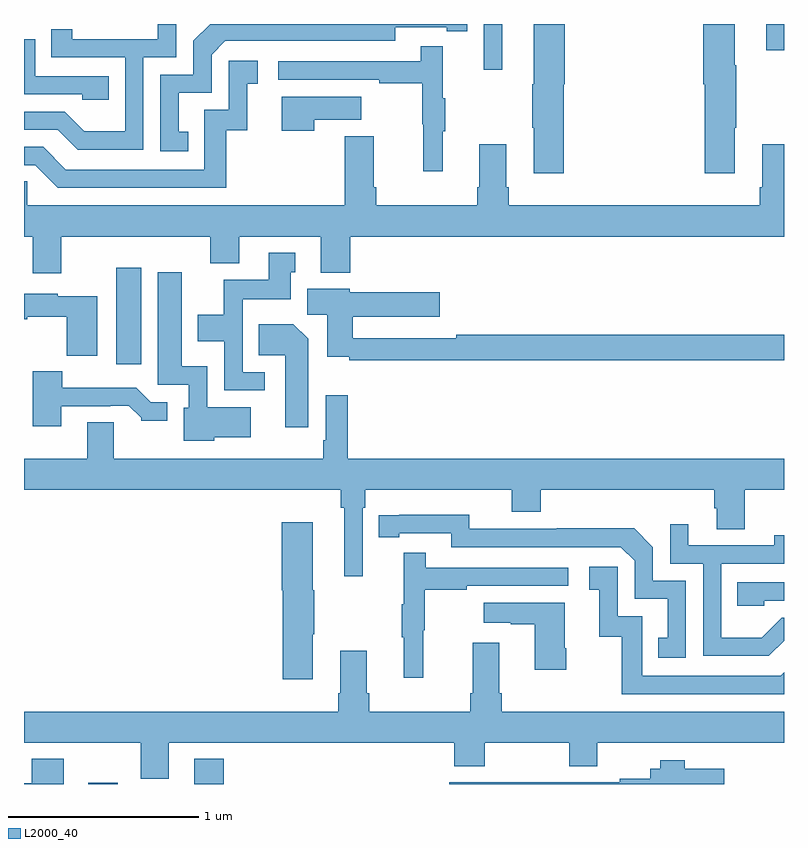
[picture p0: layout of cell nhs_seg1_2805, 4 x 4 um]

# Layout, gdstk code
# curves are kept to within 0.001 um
import gdstk
lib = gdstk.Library(unit=1e-6, precision=1e-09)
def R(c, l, rs):  # rectangles x0, y0, x1, y1
    for r in rs: c.add(gdstk.rectangle(r[:2], r[2:], *l))
def P(c, l, *ps):  # polygons
    for p in ps: c.add(gdstk.Polygon(p, *l))
L2000_40 = (2000, 40)

nhs_seg1_2805 = lib.new_cell('nhs_seg1_2805')
R(nhs_seg1_2805, L2000_40, [(263.337,534.199,263.493,534.205), (263.897,534.199,264.05,534.331), (263.486,536.409,263.617,536.917), (265.419,537.957,265.516,538.199), (266.906,538.062,267,538.199)])
P(nhs_seg1_2805, L2000_40, [(263.628,538.023),(263.802,538.023),(263.802,538.199),(263.705,538.199),(263.705,538.119),(263.254,538.119),(263.254,538.171),(263.143,538.171),(263.143,538.023),(263.532,538.023),(263.532,537.634),(263.318,537.634),(263.214,537.738),(263,537.738),(263,537.642),(263.177,537.642),(263.282,537.537),(263.628,537.537)],
  [(265.841,537.882),(265.846,537.882),(265.846,538.199),(265.682,538.199),(265.682,537.882),(265.675,537.882),(265.675,537.652),(265.682,537.652),(265.682,537.414),(265.841,537.414)],
  [(263.864,537.633),(263.815,537.633),(263.815,537.837),(263.988,537.837),(263.988,538.038),(264.06,538.11),(264.954,538.11),(264.954,538.182),(265.226,538.182),(265.226,538.162),(265.334,538.162),(265.334,538.199),(263.981,538.199),(263.892,538.11),(263.892,537.933),(263.718,537.933),(263.718,537.528),(263.864,537.528)],
  [(266.74,537.652),(266.748,537.652),(266.748,537.982),(266.74,537.982),(266.74,538.199),(266.576,538.199),(266.576,537.882),(266.582,537.882),(266.582,537.414),(266.74,537.414)],
  [(263.447,537.924),(263.058,537.924),(263.058,538.119),(263,538.119),(263,537.828),(263.307,537.828),(263.307,537.801),(263.447,537.801)],
  [(265.205,537.635),(265.216,537.635),(265.216,537.809),(265.205,537.809),(265.205,538.081),(265.087,538.081),(265.087,538.002),(264.339,538.002),(264.339,537.906),(264.871,537.906),(264.871,537.886),(265.095,537.886),(265.095,537.672),(265.102,537.672),(265.102,537.423),(265.205,537.423)],
  [(264.065,537.639),(264.176,537.639),(264.176,537.885),(264.229,537.885),(264.229,538.006),(264.078,538.006),(264.078,537.747),(263.949,537.747),(263.949,537.432),(263.22,537.432),(263.1,537.552),(263,537.552),(263,537.456),(263.058,537.456),(263.178,537.336),(264.065,537.336)],
  [(264.527,537.695),(264.775,537.695),(264.775,537.817),(264.356,537.817),(264.356,537.636),(264.527,537.636)],
  [(263.197,537.08),(263.981,537.08),(263.981,536.939),(264.133,536.939),(264.133,537.08),(264.563,537.08),(264.563,536.891),(264.716,536.891),(264.716,537.08),(267,537.08),(267,537.565),(266.885,537.565),(266.885,537.34),(266.873,537.34),(266.873,537.244),(265.55,537.244),(265.55,537.34),(265.537,537.34),(265.537,537.565),(265.397,537.565),(265.397,537.34),(265.385,537.34),(265.385,537.244),(264.854,537.244),(264.854,537.34),(264.841,537.34),(264.841,537.607),(264.689,537.607),(264.689,537.244),(263.016,537.244),(263.016,537.371),(263,537.371),(263,537.08),(263.045,537.08),(263.045,536.886),(263.197,536.886)],
  [(264.268,536.367),(264.15,536.367),(264.15,536.75),(264.403,536.75),(264.403,536.892),(264.427,536.892),(264.427,536.995),(264.287,536.995),(264.287,536.854),(264.052,536.854),(264.052,536.668),(263.915,536.668),(263.915,536.528),(264.054,536.528),(264.054,536.271),(264.268,536.271)],
  [(264,536.024),(264.193,536.024),(264.193,536.182),(263.964,536.182),(263.964,536.398),(263.83,536.398),(263.83,536.893),(263.705,536.893),(263.705,536.301),(263.868,536.301),(263.868,536.178),(263.84,536.178),(263.84,536.006),(264,536.006)],
  [(267,536.564),(265.276,536.564),(265.276,536.544),(264.731,536.544),(264.731,536.657),(265.189,536.657),(265.189,536.787),(264.714,536.787),(264.714,536.806),(264.491,536.806),(264.491,536.668),(264.596,536.668),(264.596,536.447),(264.712,536.447),(264.712,536.428),(267,536.428)],
  [(263.386,536.767),(263.178,536.767),(263.178,536.779),(263,536.779),(263,536.645),(263.016,536.645),(263.016,536.657),(263.224,536.657),(263.224,536.453),(263.386,536.453)],
  [(264.496,536.542),(264.418,536.62),(264.235,536.62),(264.235,536.456),(264.374,536.456),(264.374,536.076),(264.496,536.076)],
  [(263.197,536.187),(263.453,536.187),(263.453,536.19),(263.552,536.19),(263.616,536.126),(263.616,536.111),(263.755,536.111),(263.755,536.208),(263.667,536.208),(263.591,536.284),(263.2,536.284),(263.2,536.371),(263.045,536.371),(263.045,536.082),(263.197,536.082)],
  [(264.783,535.652),(264.797,535.652),(264.797,535.748),(265.568,535.748),(265.568,535.631),(265.721,535.631),(265.721,535.748),(266.633,535.748),(266.633,535.65),(266.645,535.65),(266.645,535.54),(266.793,535.54),(266.793,535.748),(267,535.748),(267,535.912),(264.704,535.912),(264.704,536.245),(264.588,536.245),(264.588,536.008),(264.576,536.008),(264.576,535.912),(263.473,535.912),(263.473,536.102),(263.333,536.102),(263.333,535.912),(263,535.912),(263,535.748),(264.667,535.748),(264.667,535.652),(264.686,535.652),(264.686,535.293),(264.783,535.293)],
  [(266.484,535.269),(266.31,535.269),(266.31,535.446),(266.212,535.544),(265.804,535.544),(265.804,535.542),(265.344,535.542),(265.344,535.615),(264.868,535.614),(264.868,535.498),(264.976,535.498),(264.976,535.518),(265.248,535.518),(265.248,535.446),(266.142,535.446),(266.214,535.374),(266.214,535.173),(266.387,535.173),(266.387,534.969),(266.338,534.969),(266.338,534.864),(266.484,534.864)],
  [(264.52,534.988),(264.528,534.988),(264.528,535.218),(264.52,535.218),(264.52,535.576),(264.356,535.576),(264.356,535.218),(264.362,535.218),(264.362,534.75),(264.52,534.75)],
  [(267,534.953),(267,535.074),(266.988,535.074),(266.884,534.97),(266.67,534.97),(266.67,535.359),(267,535.359),(267,535.507),(266.948,535.507),(266.948,535.455),(266.497,535.455),(266.497,535.567),(266.4,535.567),(266.4,535.359),(266.574,535.359),(266.574,534.873),(266.92,534.873)],
  [(265.1,535.008),(265.108,535.008),(265.108,535.222),(265.331,535.222),(265.331,535.242),(265.864,535.242),(265.864,535.338),(265.115,535.338),(265.115,535.417),(264.998,535.417),(264.998,535.145),(264.987,535.145),(264.987,534.971),(264.998,534.971),(264.998,534.759),(265.1,534.759)],
  [(267,534.786),(266.982,534.768),(266.253,534.768),(266.253,535.083),(266.124,535.083),(266.124,535.342),(265.974,535.342),(265.974,535.221),(266.027,535.221),(266.027,534.975),(266.145,534.975),(266.145,534.672),(267,534.672)],
  [(266.895,535.164),(267,535.164),(267,535.26),(266.755,535.26),(266.755,535.137),(266.895,535.137)],
  [(265.854,534.913),(265.846,534.913),(265.846,535.153),(265.419,535.153),(265.419,535.049),(265.562,535.049),(265.562,535.039),(265.688,535.039),(265.688,534.801),(265.854,534.801)],
  [(263.761,534.416),(265.265,534.416),(265.265,534.292),(265.425,534.292),(265.425,534.416),(265.87,534.416),(265.87,534.292),(266.017,534.292),(266.017,534.416),(267,534.416),(267,534.58),(265.514,534.58),(265.514,534.676),(265.501,534.676),(265.501,534.943),(265.361,534.943),(265.361,534.676),(265.349,534.676),(265.349,534.58),(264.818,534.58),(264.818,534.676),(264.805,534.676),(264.805,534.901),(264.665,534.901),(264.665,534.676),(264.653,534.676),(264.653,534.58),(263,534.58),(263,534.416),(263.614,534.416),(263.614,534.226),(263.761,534.226)],
  [(263.209,534.331),(263.042,534.331),(263.042,534.202),(263,534.202),(263,534.199),(263.209,534.199)],
  [(266.686,534.28),(266.477,534.28),(266.477,534.325),(266.349,534.325),(266.349,534.28),(266.297,534.28),(266.297,534.226),(266.136,534.226),(266.136,534.207),(265.719,534.207),(265.719,534.209),(265.487,534.209),(265.487,534.207),(265.237,534.207),(265.237,534.199),(266.686,534.199)])

lib.write_gds('nhs_seg1_2805.gds')
